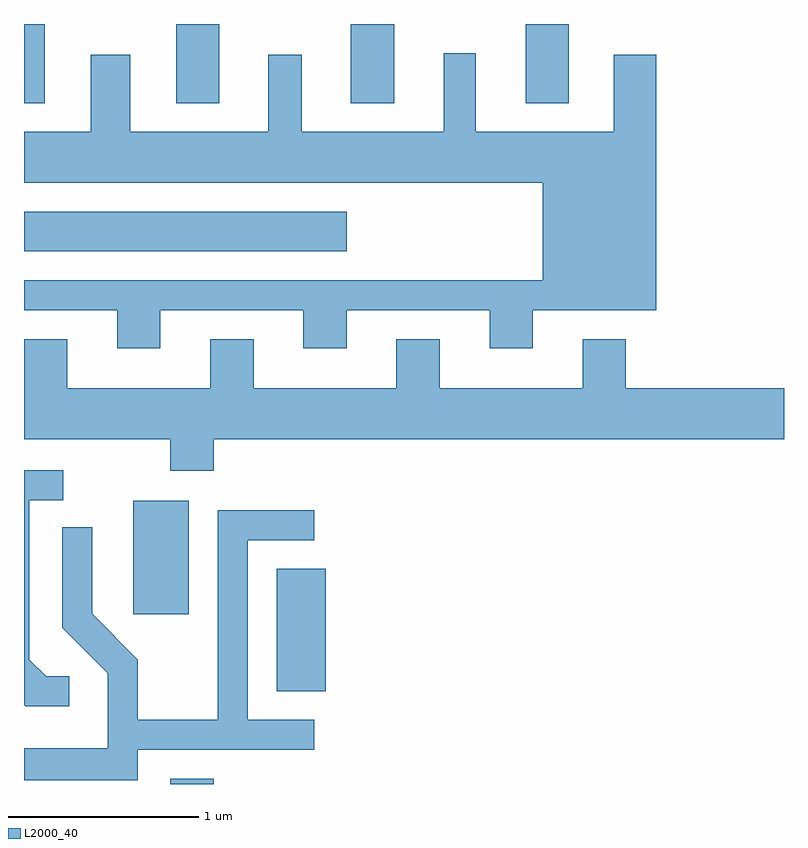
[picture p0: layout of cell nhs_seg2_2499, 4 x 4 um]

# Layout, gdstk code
import gdstk
lib = gdstk.Library(unit=1e-6, precision=1e-09)
def R(c, l, rs):  # rectangles x0, y0, x1, y1
    for r in rs: c.add(gdstk.rectangle(r[:2], r[2:], *l))
def A(c, l, x, y, w, h, nx, ny, dx, dy):  # array of equal rectangles
    R(c, l, [(x+i*dx, y+j*dy, x+i*dx+w, y+j*dy+h) for i in range(nx) for j in range(ny)])
def P(c, l, *ps):  # polygons
    for p in ps: c.add(gdstk.Polygon(p, *l))
L2000_40 = (2000, 40)

nhs_seg2_2499 = lib.new_cell('nhs_seg2_2499')
A(nhs_seg2_2499, L2000_40, 258.411, 1083.386, 0.228, 0.416, 3, 1, 0.92, 0)
R(nhs_seg2_2499, L2000_40, [(258.381,1079.802,258.609,1079.829), (258.941,1080.291,259.199,1080.934), (258.186,1080.696,258.479,1081.294), (257.611,1082.606,259.309,1082.814), (257.611,1083.386,257.719,1083.802)])
P(nhs_seg2_2499, L2000_40, [(258.329,1082.296),(259.081,1082.296),(259.081,1082.096),(259.309,1082.096),(259.309,1082.296),(260.061,1082.296),(260.061,1082.096),(260.289,1082.096),(260.289,1082.296),(260.939,1082.296),(260.939,1083.639),(260.716,1083.639),(260.716,1083.234),(259.989,1083.234),(259.989,1083.648),(259.821,1083.648),(259.821,1083.234),(259.074,1083.234),(259.074,1083.639),(258.896,1083.639),(258.896,1083.234),(258.169,1083.234),(258.169,1083.639),(257.961,1083.639),(257.961,1083.234),(257.611,1083.234),(257.611,1082.966),(260.341,1082.966),(260.341,1082.454),(257.611,1082.454),(257.611,1082.296),(258.101,1082.296),(258.101,1082.096),(258.329,1082.096)],
  [(258.609,1081.616),(261.611,1081.616),(261.611,1081.884),(260.779,1081.884),(260.779,1082.144),(260.551,1082.144),(260.551,1081.884),(259.799,1081.884),(259.799,1082.144),(259.571,1082.144),(259.571,1081.884),(258.819,1081.884),(258.819,1082.144),(258.591,1082.144),(258.591,1081.884),(257.839,1081.884),(257.839,1082.144),(257.611,1082.144),(257.611,1081.616),(258.381,1081.616),(258.381,1081.451),(258.609,1081.451)],
  [(257.848,1080.369),(257.727,1080.369),(257.639,1080.457),(257.639,1081.296),(257.818,1081.296),(257.818,1081.454),(257.611,1081.454),(257.611,1080.218),(257.618,1080.211),(257.848,1080.211)],
  [(258.209,1079.981),(259.138,1079.981),(259.138,1080.139),(258.789,1080.139),(258.789,1081.086),(259.138,1081.086),(259.138,1081.244),(258.631,1081.244),(258.631,1080.139),(258.209,1080.139),(258.209,1080.457),(257.969,1080.697),(257.969,1081.153),(257.811,1081.153),(257.811,1080.624),(258.051,1080.384),(258.051,1079.989),(257.611,1079.989),(257.611,1079.821),(258.209,1079.821)])

lib.write_gds('nhs_seg2_2499.gds')
